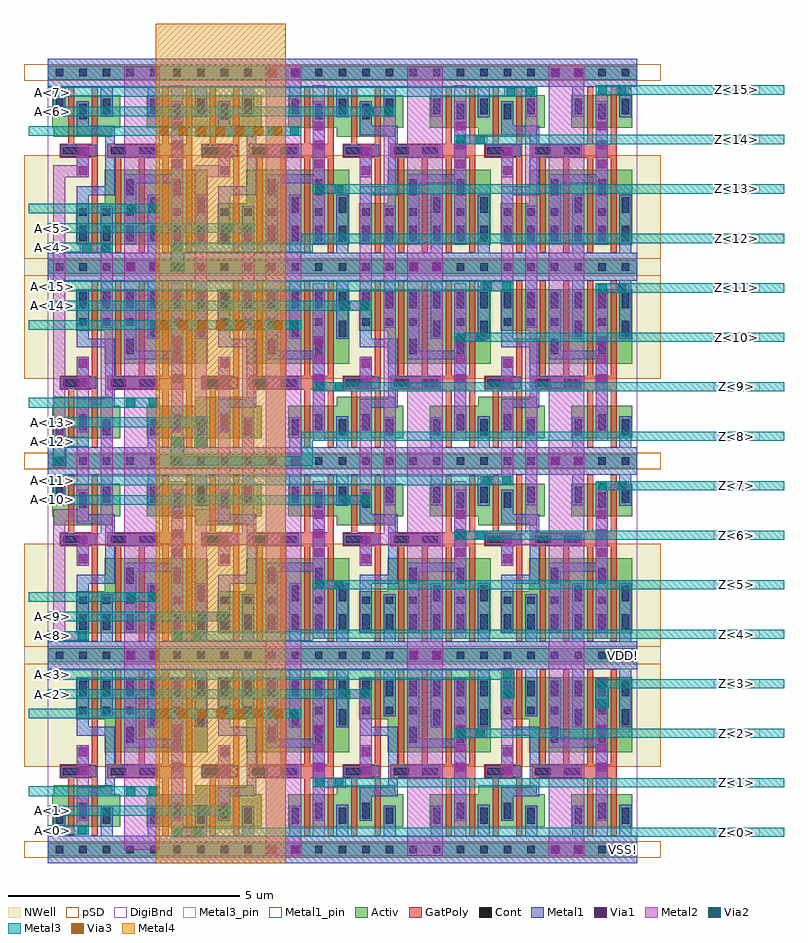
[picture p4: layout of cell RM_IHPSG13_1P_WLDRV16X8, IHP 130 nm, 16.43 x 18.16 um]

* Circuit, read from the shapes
.subckt RM_IHPSG13_1P_WLDRV16X8 A<0> A<10> A<11> A<12> A<13> A<14> A<15> A<1> A<2> A<3> A<4> A<5> A<6> A<7> A<8> A<9> VDD! VSS! Z<0> Z<10> Z<11> Z<12> Z<13> Z<14> Z<15> Z<1> Z<2> Z<3> Z<4> Z<5> Z<6> Z<7> Z<8> Z<9>
XM1 n1 A<0> VSS! VSS! sg13_lv_nmos w=0.9u l=0.13u m=2
XM2 n2 A<4> VSS! VSS! sg13_lv_nmos w=0.9u l=0.13u m=2
XM3 n3 A<8> VSS! VSS! sg13_lv_nmos w=0.9u l=0.13u m=2
XM4 n4 A<12> VSS! VSS! sg13_lv_nmos w=0.9u l=0.13u m=2
XM5 Z<0> n1 VSS! VSS! sg13_lv_nmos w=0.705u l=0.13u m=2
XM6 Z<4> n2 VSS! VSS! sg13_lv_nmos w=0.705u l=0.13u m=2
XM7 Z<8> n3 VSS! VSS! sg13_lv_nmos w=0.705u l=0.13u m=2
XM8 Z<12> n4 VSS! VSS! sg13_lv_nmos w=0.705u l=0.13u m=2
XM9 n5 A<1> VSS! VSS! sg13_lv_nmos w=0.9u l=0.13u m=2
XM10 n6 A<5> VSS! VSS! sg13_lv_nmos w=0.9u l=0.13u m=2
XM11 n7 A<9> VSS! VSS! sg13_lv_nmos w=0.9u l=0.13u m=2
XM12 n8 A<13> VSS! VSS! sg13_lv_nmos w=0.9u l=0.13u m=2
XM13 Z<1> n5 VSS! VSS! sg13_lv_nmos w=0.705u l=0.13u m=2
XM14 Z<5> n6 VSS! VSS! sg13_lv_nmos w=0.705u l=0.13u m=2
XM15 Z<9> n7 VSS! VSS! sg13_lv_nmos w=0.705u l=0.13u m=2
XM16 Z<13> n8 VSS! VSS! sg13_lv_nmos w=0.705u l=0.13u m=2
XM17 n9 A<2> VSS! VSS! sg13_lv_nmos w=0.9u l=0.13u m=2
XM18 n10 A<6> VSS! VSS! sg13_lv_nmos w=0.9u l=0.13u m=2
XM19 n11 A<10> VSS! VSS! sg13_lv_nmos w=0.9u l=0.13u m=2
XM20 n12 A<14> VSS! VSS! sg13_lv_nmos w=0.9u l=0.13u m=2
XM21 Z<2> n9 VSS! VSS! sg13_lv_nmos w=0.705u l=0.13u m=2
XM22 Z<6> n10 VSS! VSS! sg13_lv_nmos w=0.705u l=0.13u m=2
XM23 Z<10> n11 VSS! VSS! sg13_lv_nmos w=0.705u l=0.13u m=2
XM24 Z<14> n12 VSS! VSS! sg13_lv_nmos w=0.705u l=0.13u m=2
XM25 n13 A<3> VSS! VSS! sg13_lv_nmos w=0.9u l=0.13u m=2
XM26 n14 A<7> VSS! VSS! sg13_lv_nmos w=0.9u l=0.13u m=2
XM27 n15 A<11> VSS! VSS! sg13_lv_nmos w=0.9u l=0.13u m=2
XM28 n16 A<15> VSS! VSS! sg13_lv_nmos w=0.9u l=0.13u m=2
XM29 Z<3> n13 VSS! VSS! sg13_lv_nmos w=0.705u l=0.13u m=2
XM30 Z<7> n14 VSS! VSS! sg13_lv_nmos w=0.705u l=0.13u m=2
XM31 Z<11> n15 VSS! VSS! sg13_lv_nmos w=0.705u l=0.13u m=2
XM32 Z<15> n16 VSS! VSS! sg13_lv_nmos w=0.705u l=0.13u m=2
XM33 VDD! A<0> n1 VDD! sg13_lv_pmos w=0.9u l=0.13u
XM34 VDD! A<4> n2 VDD! sg13_lv_pmos w=0.9u l=0.13u
XM35 VDD! A<8> n3 VDD! sg13_lv_pmos w=0.9u l=0.13u
XM36 VDD! A<12> n4 VDD! sg13_lv_pmos w=0.9u l=0.13u
XM37 Z<0> n1 VDD! VDD! sg13_lv_pmos w=1.62u l=0.13u m=4
XM38 Z<4> n2 VDD! VDD! sg13_lv_pmos w=1.62u l=0.13u m=4
XM39 Z<8> n3 VDD! VDD! sg13_lv_pmos w=1.62u l=0.13u m=4
XM40 Z<12> n4 VDD! VDD! sg13_lv_pmos w=1.62u l=0.13u m=4
XM41 VDD! A<1> n5 VDD! sg13_lv_pmos w=0.9u l=0.13u
XM42 VDD! A<5> n6 VDD! sg13_lv_pmos w=0.9u l=0.13u
XM43 VDD! A<9> n7 VDD! sg13_lv_pmos w=0.9u l=0.13u
XM44 VDD! A<13> n8 VDD! sg13_lv_pmos w=0.9u l=0.13u
XM45 Z<1> n5 VDD! VDD! sg13_lv_pmos w=1.62u l=0.13u m=4
XM46 Z<5> n6 VDD! VDD! sg13_lv_pmos w=1.62u l=0.13u m=4
XM47 Z<9> n7 VDD! VDD! sg13_lv_pmos w=1.62u l=0.13u m=4
XM48 Z<13> n8 VDD! VDD! sg13_lv_pmos w=1.62u l=0.13u m=4
XM49 VDD! A<2> n9 VDD! sg13_lv_pmos w=0.9u l=0.13u
XM50 VDD! A<6> n10 VDD! sg13_lv_pmos w=0.9u l=0.13u
XM51 VDD! A<10> n11 VDD! sg13_lv_pmos w=0.9u l=0.13u
XM52 VDD! A<14> n12 VDD! sg13_lv_pmos w=0.9u l=0.13u
XM53 Z<2> n9 VDD! VDD! sg13_lv_pmos w=1.62u l=0.13u m=4
XM54 Z<6> n10 VDD! VDD! sg13_lv_pmos w=1.62u l=0.13u m=4
XM55 Z<10> n11 VDD! VDD! sg13_lv_pmos w=1.62u l=0.13u m=4
XM56 Z<14> n12 VDD! VDD! sg13_lv_pmos w=1.62u l=0.13u m=4
XM57 VDD! A<3> n13 VDD! sg13_lv_pmos w=0.9u l=0.13u
XM58 VDD! A<7> n14 VDD! sg13_lv_pmos w=0.9u l=0.13u
XM59 VDD! A<11> n15 VDD! sg13_lv_pmos w=0.9u l=0.13u
XM60 VDD! A<15> n16 VDD! sg13_lv_pmos w=0.9u l=0.13u
XM61 Z<3> n13 VDD! VDD! sg13_lv_pmos w=1.62u l=0.13u m=4
XM62 Z<7> n14 VDD! VDD! sg13_lv_pmos w=1.62u l=0.13u m=4
XM63 Z<11> n15 VDD! VDD! sg13_lv_pmos w=1.62u l=0.13u m=4
XM64 Z<15> n16 VDD! VDD! sg13_lv_pmos w=1.62u l=0.13u m=4
.ends

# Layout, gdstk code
from math import pi, radians
import gdstk
lib = gdstk.Library(unit=1e-6, precision=1e-09)
def R(c, l, rs):  # rectangles x0, y0, x1, y1
    for r in rs: c.add(gdstk.rectangle(r[:2], r[2:], *l))
def A(c, l, x, y, w, h, nx, ny, dx, dy):  # array of equal rectangles
    R(c, l, [(x+i*dx, y+j*dy, x+i*dx+w, y+j*dy+h) for i in range(nx) for j in range(ny)])
def P(c, l, *ps):  # polygons
    for p in ps: c.add(gdstk.Polygon(p, *l))
Activ = (1, 0)
GatPoly = (5, 0)
Cont = (6, 0)
Metal1 = (8, 0)
Metal1_pin = (8, 2)
Metal2 = (10, 0)
pSD = (14, 0)
DigiBnd = (16, 0)
Via1 = (19, 0)
Via2 = (29, 0)
Metal3 = (30, 0)
Metal3_pin = (30, 2)
NWell = (31, 0)
Via3 = (49, 0)
Metal4 = (50, 0)

rsc_ihpsg13_wldrvx8 = lib.new_cell('RSC_IHPSG13_WLDRVX8')
R(rsc_ihpsg13_wldrvx8, Activ, [(0,-0.15,3.57,0.15), (2.145,0.49,3.465,1.195), (0,4.05,3.57,4.35)])
P(rsc_ihpsg13_wldrvx8, Activ, [(1.235,2.1),(1.235,2.82),(0.615,2.82),(0.615,3.72),(3.465,3.72),(3.465,2.1)],
  [(0.105,0.49),(0.105,1.195),(0.135,1.195),(0.135,1.39),(1.395,1.39),(1.395,1.195),(1.57,1.195),(1.57,0.49)])
P(rsc_ihpsg13_wldrvx8, GatPoly, [(0.445,0.3),(0.445,1.54),(0.26,1.54),(0.26,1.84),(0.955,1.84),(0.955,3.9),(1.085,3.9),(1.085,0.3),(0.955,0.3),(0.955,1.54),(0.575,1.54),(0.575,0.3)],
  [(2.485,0.3),(2.485,1.54),(1.295,1.54),(1.295,1.84),(1.465,1.84),(1.465,3.9),(1.595,3.9),(1.595,1.84),(1.975,1.84),(1.975,3.9),(2.105,3.9),(2.105,1.84),(2.485,1.84),(2.485,3.9),(2.615,3.9),(2.615,1.84),(2.995,1.84),(2.995,3.9),(3.125,3.9),(3.125,1.84),(3.13,1.84),(3.13,1.54),(3.125,1.54),(3.125,0.3),(2.995,0.3),(2.995,1.54),(2.615,1.54),(2.615,0.3)])
A(rsc_ihpsg13_wldrvx8, Cont, 0.175, -0.08, 0.16, 0.16, 7, 2, 0.51, 4.2)
A(rsc_ihpsg13_wldrvx8, Cont, 0.175, 0.56, 0.16, 0.34, 4, 1, 1.02, 0)
A(rsc_ihpsg13_wldrvx8, Cont, 0.685, 2.93, 0.16, 0.16, 3, 1, 0.51, 0)
A(rsc_ihpsg13_wldrvx8, Cont, 0.685, 3.31, 0.16, 0.34, 6, 1, 0.51, 0)
R(rsc_ihpsg13_wldrvx8, Cont, [(0.685,0.67,0.845,1.01), (2.725,0.67,2.885,1.01), (0.33,1.61,0.67,1.77), (1.365,1.61,1.705,1.77), (1.985,1.61,2.325,1.77), (1.705,2.31,1.865,2.65), (2.725,2.31,2.885,2.65), (2.215,2.69,2.375,3.03), (3.235,2.69,3.395,3.03), (2.725,2.93,2.885,3.09)])
R(rsc_ihpsg13_wldrvx8, Metal1, [(2.675,0.62,2.935,1.35), (2.675,1.305,2.935,2.33), (0.28,1.56,1.05,1.82)])
P(rsc_ihpsg13_wldrvx8, Metal1, [(0.635,0.62),(0.635,1.35),(1.25,1.35),(1.25,2.46),(0.635,2.46),(0.635,3.7),(0.895,3.7),(0.895,2.65),(1.455,2.65),(1.455,1.83),(2.375,1.83),(2.375,1.56),(1.455,1.56),(1.455,1.15),(0.895,1.15),(0.895,0.62)],
  [(2.165,2.64),(2.165,3.9),(1.405,3.9),(1.405,2.88),(1.145,2.88),(1.145,3.9),(0,3.9),(0,4.5),(3.57,4.5),(3.57,3.9),(3.445,3.9),(3.445,2.64),(3.185,2.64),(3.185,3.9),(2.425,3.9),(2.425,2.64)],
  [(0,-0.3),(0,0.3),(0.125,0.3),(0.125,0.95),(0.385,0.95),(0.385,0.3),(1.145,0.3),(1.145,0.95),(1.405,0.95),(1.405,0.3),(2.165,0.3),(2.165,0.95),(2.425,0.95),(2.425,0.3),(3.185,0.3),(3.185,0.97),(3.445,0.97),(3.445,0.3),(3.57,0.3),(3.57,-0.3)],
  [(1.655,2.2),(1.655,3.7),(1.915,3.7),(1.915,2.39),(2.675,2.39),(2.675,3.7),(2.935,3.7),(2.935,2.2)])
R(rsc_ihpsg13_wldrvx8, Metal1_pin, [(0,-0.3,3.57,0.3), (2.675,0.62,2.935,3.7), (0.28,1.56,1.05,1.82), (0,3.9,3.57,4.5)])
R(rsc_ihpsg13_wldrvx8, pSD, [(-0.51,-0.18,4.08,0.18), (-0.51,1.785,4.08,4.02)])
R(rsc_ihpsg13_wldrvx8, DigiBnd, [(0,-0.3,3.57,4.5)])
R(rsc_ihpsg13_wldrvx8, NWell, [(-0.51,1.785,4.08,4.725)])
rsc_ihpsg13_wldrvx8.add(gdstk.Label('A', (0.51,1.695), layer=8, texttype=2))
rsc_ihpsg13_wldrvx8.add(gdstk.Label('Z', (2.806,1.995), layer=8, texttype=2))
rsc_ihpsg13_wldrvx8.add(gdstk.Label('VDD!', (0.84,4.2), layer=8, texttype=2))
rsc_ihpsg13_wldrvx8.add(gdstk.Label('VSS!', (1.155,0.005), layer=8, texttype=2))

m2_m1_cdns_686138838816 = lib.new_cell('M2_M1_CDNS_686138838816')
R(m2_m1_cdns_686138838816, Metal1, [(-0.35,-0.13,0.35,0.13)])
R(m2_m1_cdns_686138838816, Metal2, [(-0.35,-0.13,0.35,0.13)])
R(m2_m1_cdns_686138838816, Via1, [(-0.3,-0.095,-0.11,0.095), (0.11,-0.095,0.3,0.095)])

viagen23_cdns_6861388388 = lib.new_cell('viagen23_CDNS_6861388388132')
R(viagen23_cdns_6861388388, Metal2, [(-0.13,-0.355,0.13,0.355)])
R(viagen23_cdns_6861388388, Via2, [(-0.095,-0.305,0.095,-0.115), (-0.095,0.115,0.095,0.305)])
R(viagen23_cdns_6861388388, Metal3, [(-0.145,-0.315,0.145,0.315)])

viagen34_cdns_6861388388 = lib.new_cell('viagen34_CDNS_6861388388134')
R(viagen34_cdns_6861388388, Metal3, [(-1.405,-0.105,1.405,0.105)])
A(viagen34_cdns_6861388388, Via3, -1.325, -0.095, 0.19, 0.19, 7, 1, 0.41, 0)
R(viagen34_cdns_6861388388, Metal4, [(-1.405,-0.105,1.405,0.105)])

m3_m2_cdns_6861388388140 = lib.new_cell('M3_M2_CDNS_6861388388140')
R(m3_m2_cdns_6861388388140, Metal2, [(-0.385,-0.105,0.385,0.105)])
R(m3_m2_cdns_6861388388140, Via2, [(-0.335,-0.095,-0.145,0.095), (0.145,-0.095,0.335,0.095)])
R(m3_m2_cdns_6861388388140, Metal3, [(-0.385,-0.105,0.385,0.105)])

m3_m2_cdns_6861388388139 = lib.new_cell('M3_M2_CDNS_6861388388139')
R(m3_m2_cdns_6861388388139, Metal2, [(-0.355,-0.105,0.355,0.105)])
R(m3_m2_cdns_6861388388139, Via2, [(-0.305,-0.095,-0.115,0.095), (0.115,-0.095,0.305,0.095)])
R(m3_m2_cdns_6861388388139, Metal3, [(-0.355,-0.105,0.355,0.105)])

m3_m2_cdns_6861388388144 = lib.new_cell('M3_M2_CDNS_6861388388144')
R(m3_m2_cdns_6861388388144, Metal2, [(-0.355,-0.105,0.355,0.105)])
R(m3_m2_cdns_6861388388144, Via2, [(-0.305,-0.095,-0.115,0.095), (0.115,-0.095,0.305,0.095)])
R(m3_m2_cdns_6861388388144, Metal3, [(-0.355,-0.1,0.355,0.1)])

m2_m1_cdns_6861388388145 = lib.new_cell('M2_M1_CDNS_6861388388145')
R(m2_m1_cdns_6861388388145, Metal1, [(-0.37,-0.145,0.385,0.145)])
R(m2_m1_cdns_6861388388145, Metal2, [(-0.37,-0.145,0.385,0.145)])
R(m2_m1_cdns_6861388388145, Via1, [(-0.335,-0.095,-0.145,0.095), (0.16,-0.095,0.35,0.095)])

m3_m2_cdns_6861388388146 = lib.new_cell('M3_M2_CDNS_6861388388146')
R(m3_m2_cdns_6861388388146, Metal2, [(-0.355,-0.1,0.355,0.1)])
R(m3_m2_cdns_6861388388146, Via2, [(-0.305,-0.095,-0.115,0.095), (0.115,-0.095,0.305,0.095)])
R(m3_m2_cdns_6861388388146, Metal3, [(-0.355,-0.1,0.355,0.1)])

viagen12_cdns_6861388388 = lib.new_cell('viagen12_CDNS_6861388388147')
R(viagen12_cdns_6861388388, Metal1, [(-0.13,-0.555,0.13,0.555)])
R(viagen12_cdns_6861388388, Metal2, [(-0.13,-0.555,0.13,0.555)])
A(viagen12_cdns_6861388388, Via1, -0.095, -0.505, 0.19, 0.19, 1, 3, 0, 0.41)

rm_ihpsg13_1p_wldrv16x8 = lib.new_cell('RM_IHPSG13_1P_WLDRV16X8')
R(rm_ihpsg13_1p_wldrv16x8, Metal1_pin, [(12.15,-0.3,12.75,0.3), (12.15,3.9,12.75,4.5)])
A(rm_ihpsg13_1p_wldrv16x8, Metal2, 4.715, -0.13, 0.77, 17.06, 3, 1, 3.06, 0)
A(rm_ihpsg13_1p_wldrv16x8, Metal2, 2.675, 0.275, 0.26, 3.41, 4, 4, 3.06, 4.28)
R(rm_ihpsg13_1p_wldrv16x8, Metal2, [(1.655,0,1.915,16.8), (1.655,0,2.425,16.93), (2.165,0,2.425,16.8), (4.715,0,4.975,16.8), (5.225,0,5.485,16.8), (7.775,0,8.035,16.8), (8.285,0,8.545,16.8), (10.835,0,11.095,16.8), (11.345,0,11.605,16.8), (0.635,0.315,0.895,2), (2.675,0.315,2.935,2.625), (3.695,0.735,3.955,2), (6.755,1.74,7.015,3.465), (9.815,1.74,10.075,3.885), (6.755,7.455,7.015,9.96), (9.815,7.875,10.075,9.96), (6.755,11.655,7.015,14.54), (9.815,12.075,10.075,14.54)])
P(rm_ihpsg13_1p_wldrv16x8, Metal2, [(3.185,8.715),(3.185,14.8),(3.695,14.8),(3.695,14.54),(3.445,14.54),(3.445,8.715)],
  [(0.635,6.58),(0.635,6.84),(1.145,6.84),(1.145,13.125),(1.405,13.125),(1.405,6.58)],
  [(3.695,6.58),(3.695,6.84),(4.205,6.84),(4.205,13.545),(4.465,13.545),(4.465,6.58)],
  [(0.125,8.715),(0.125,14.8),(0.635,14.8),(0.635,14.54),(0.385,14.54),(0.385,8.715)],
  [(3.185,4.935),(3.185,7.36),(3.695,7.36),(3.695,9.96),(3.955,9.96),(3.955,7.1),(3.445,7.1),(3.445,4.935)],
  [(0.125,4.515),(0.125,7.36),(0.635,7.36),(0.635,9.96),(0.895,9.96),(0.895,7.1),(0.385,7.1),(0.385,4.515)],
  [(6.755,6.58),(6.755,6.84),(7.265,6.84),(7.265,16.065),(7.525,16.065),(7.525,6.58)],
  [(9.815,6.58),(9.815,6.84),(10.325,6.84),(10.325,16.485),(10.585,16.485),(10.585,6.58)])
A(rm_ihpsg13_1p_wldrv16x8, Metal3, 0, 0.315, 0.895, 0.21, 1, 3, 0, 4.2)
A(rm_ihpsg13_1p_wldrv16x8, Metal3, -0.41, 1.155, 2.835, 0.21, 1, 4, 0, 4.2)
A(rm_ihpsg13_1p_wldrv16x8, Metal3, 5.735, 1.345, 10.19, 0.2, 1, 4, 0, 4.28)
A(rm_ihpsg13_1p_wldrv16x8, Metal3, 8.795, 2.415, 7.13, 0.2, 1, 4, 0, 4.28)
A(rm_ihpsg13_1p_wldrv16x8, Metal3, 0, 3.255, 7.015, 0.21, 1, 3, 0, 4.2)
A(rm_ihpsg13_1p_wldrv16x8, Metal3, 11.855, 3.485, 4.07, 0.2, 1, 4, 0, 4.28)
A(rm_ihpsg13_1p_wldrv16x8, Metal3, 0, 3.675, 10.075, 0.21, 1, 3, 0, 4.2)
A(rm_ihpsg13_1p_wldrv16x8, Metal3, 5.485, 4.555, 10.44, 0.2, 1, 3, 0, 4.28)
R(rm_ihpsg13_1p_wldrv16x8, Metal3, [(2.675,0.275,15.925,0.475), (0,0.735,3.955,0.945), (-0.41,2.835,5.15,3.045), (2.675,4.515,5.735,4.725), (0,4.935,3.445,5.145), (2.675,8.295,5.735,8.505), (5.485,8.295,5.735,9.035), (0,9.135,3.445,9.345), (-0.41,11.235,5.15,11.445), (0,12.915,1.405,13.125), (2.675,12.915,5.735,13.125), (0,13.335,4.465,13.545), (-0.41,15.435,5.15,15.645), (0,15.855,7.525,16.065), (0,16.275,10.585,16.485)])
A(rm_ihpsg13_1p_wldrv16x8, Metal3_pin, 14.405, 0.275, 1, 0.2, 1, 16, 0, 1.07)
R(rm_ihpsg13_1p_wldrv16x8, Metal3_pin, [(0,0.315,0.21,0.525), (0,0.735,0.21,0.945), (0,3.255,0.21,3.465), (0,3.675,0.21,3.885), (0,4.515,0.21,4.725), (0,4.935,0.21,5.145), (0,7.455,0.21,7.665), (0,7.875,0.21,8.085), (0,8.715,0.21,8.925), (0,9.135,0.21,9.345), (0.005,11.655,0.215,11.865), (0.005,12.075,0.215,12.285), (0,12.915,0.21,13.125), (0,13.335,0.21,13.545), (0,15.855,0.21,16.065), (0,16.275,0.21,16.485)])
R(rm_ihpsg13_1p_wldrv16x8, Metal4, [(2.34,-0.3,5.15,17.86)])
r = gdstk.Reference(rsc_ihpsg13_wldrvx8, (0,16.8), x_reflection=True); r.repetition = gdstk.Repetition(4, 2, v1=(3.06,0), v2=(0,-8.4)); rm_ihpsg13_1p_wldrv16x8.add(r)
r = gdstk.Reference(rsc_ihpsg13_wldrvx8, (0,0)); r.repetition = gdstk.Repetition(4, 2, v1=(3.06,0), v2=(0,8.4)); rm_ihpsg13_1p_wldrv16x8.add(r)
rm_ihpsg13_1p_wldrv16x8.add(gdstk.Reference(m2_m1_cdns_686138838816, (0.765,6.49), rotation=pi/2))
rm_ihpsg13_1p_wldrv16x8.add(gdstk.Reference(m2_m1_cdns_686138838816, (6.885,6.49), rotation=pi/2))
rm_ihpsg13_1p_wldrv16x8.add(gdstk.Reference(m2_m1_cdns_686138838816, (9.945,10.31), rotation=pi/2))
rm_ihpsg13_1p_wldrv16x8.add(gdstk.Reference(m2_m1_cdns_686138838816, (0.765,10.31), rotation=pi/2))
rm_ihpsg13_1p_wldrv16x8.add(gdstk.Reference(m2_m1_cdns_686138838816, (0.765,14.89), rotation=pi/2))
rm_ihpsg13_1p_wldrv16x8.add(gdstk.Reference(m2_m1_cdns_686138838816, (3.825,14.89), rotation=pi/2))
rm_ihpsg13_1p_wldrv16x8.add(gdstk.Reference(m2_m1_cdns_686138838816, (6.885,14.89), rotation=pi/2))
rm_ihpsg13_1p_wldrv16x8.add(gdstk.Reference(m2_m1_cdns_686138838816, (3.825,1.91), rotation=pi/2))
rm_ihpsg13_1p_wldrv16x8.add(gdstk.Reference(m2_m1_cdns_686138838816, (6.885,1.91), rotation=pi/2))
rm_ihpsg13_1p_wldrv16x8.add(gdstk.Reference(m2_m1_cdns_686138838816, (9.945,1.91), rotation=pi/2))
rm_ihpsg13_1p_wldrv16x8.add(gdstk.Reference(m2_m1_cdns_686138838816, (3.825,10.31), rotation=pi/2))
rm_ihpsg13_1p_wldrv16x8.add(gdstk.Reference(m2_m1_cdns_686138838816, (9.945,6.49), rotation=pi/2))
rm_ihpsg13_1p_wldrv16x8.add(gdstk.Reference(m2_m1_cdns_686138838816, (3.825,6.49), rotation=pi/2))
rm_ihpsg13_1p_wldrv16x8.add(gdstk.Reference(m2_m1_cdns_686138838816, (9.945,14.89), rotation=pi/2))
rm_ihpsg13_1p_wldrv16x8.add(gdstk.Reference(m2_m1_cdns_686138838816, (6.885,10.31), rotation=pi/2))
rm_ihpsg13_1p_wldrv16x8.add(gdstk.Reference(m2_m1_cdns_686138838816, (0.765,1.91), rotation=pi/2))
rm_ihpsg13_1p_wldrv16x8.add(gdstk.Reference(viagen23_cdns_6861388388, (11.985,3.37), rotation=pi, x_reflection=True))
rm_ihpsg13_1p_wldrv16x8.add(gdstk.Reference(viagen23_cdns_6861388388, (9.945,3.57), rotation=pi, x_reflection=True))
rm_ihpsg13_1p_wldrv16x8.add(gdstk.Reference(viagen23_cdns_6861388388, (0.255,8.61)))
rm_ihpsg13_1p_wldrv16x8.add(gdstk.Reference(viagen23_cdns_6861388388, (2.805,12.81)))
rm_ihpsg13_1p_wldrv16x8.add(gdstk.Reference(viagen23_cdns_6861388388, (2.805,8.61)))
rm_ihpsg13_1p_wldrv16x8.add(gdstk.Reference(viagen23_cdns_6861388388, (3.315,9.03)))
rm_ihpsg13_1p_wldrv16x8.add(gdstk.Reference(viagen34_cdns_6861388388, (3.745,2.94), rotation=pi))
rm_ihpsg13_1p_wldrv16x8.add(gdstk.Reference(viagen34_cdns_6861388388, (3.745,11.34), rotation=pi))
rm_ihpsg13_1p_wldrv16x8.add(gdstk.Reference(viagen34_cdns_6861388388, (3.745,15.54), rotation=pi))
rm_ihpsg13_1p_wldrv16x8.add(gdstk.Reference(m3_m2_cdns_6861388388140, (2.04,13.86)))
rm_ihpsg13_1p_wldrv16x8.add(gdstk.Reference(m3_m2_cdns_6861388388140, (2.04,9.66)))
rm_ihpsg13_1p_wldrv16x8.add(gdstk.Reference(m3_m2_cdns_6861388388140, (2.04,5.46)))
rm_ihpsg13_1p_wldrv16x8.add(gdstk.Reference(m3_m2_cdns_6861388388140, (2.04,1.26)))
rm_ihpsg13_1p_wldrv16x8.add(gdstk.Reference(m3_m2_cdns_6861388388140, (5.1,2.94)))
rm_ihpsg13_1p_wldrv16x8.add(gdstk.Reference(m3_m2_cdns_6861388388140, (5.1,11.34)))
rm_ihpsg13_1p_wldrv16x8.add(gdstk.Reference(m3_m2_cdns_6861388388140, (5.1,15.54)))
rm_ihpsg13_1p_wldrv16x8.add(gdstk.Reference(m3_m2_cdns_6861388388139, (6.66,7.56), rotation=pi, x_reflection=True))
rm_ihpsg13_1p_wldrv16x8.add(gdstk.Reference(m3_m2_cdns_6861388388139, (3.54,5.04), rotation=pi, x_reflection=True))
rm_ihpsg13_1p_wldrv16x8.add(gdstk.Reference(m3_m2_cdns_6861388388139, (10.23,16.38), rotation=pi, x_reflection=True))
rm_ihpsg13_1p_wldrv16x8.add(gdstk.Reference(m3_m2_cdns_6861388388139, (1.05,13.02), rotation=pi, x_reflection=True))
rm_ihpsg13_1p_wldrv16x8.add(gdstk.Reference(m3_m2_cdns_6861388388139, (9.72,7.98), rotation=pi, x_reflection=True))
rm_ihpsg13_1p_wldrv16x8.add(gdstk.Reference(m3_m2_cdns_6861388388139, (0.54,0.42), rotation=pi, x_reflection=True))
rm_ihpsg13_1p_wldrv16x8.add(gdstk.Reference(m3_m2_cdns_6861388388139, (3.6,0.84), rotation=pi, x_reflection=True))
rm_ihpsg13_1p_wldrv16x8.add(gdstk.Reference(m3_m2_cdns_6861388388139, (6.66,3.36), rotation=pi, x_reflection=True))
rm_ihpsg13_1p_wldrv16x8.add(gdstk.Reference(m3_m2_cdns_6861388388139, (0.54,4.62), rotation=pi, x_reflection=True))
rm_ihpsg13_1p_wldrv16x8.add(gdstk.Reference(m3_m2_cdns_6861388388139, (7.17,15.96), rotation=pi, x_reflection=True))
rm_ihpsg13_1p_wldrv16x8.add(gdstk.Reference(m3_m2_cdns_6861388388139, (3.03,4.62), rotation=pi, x_reflection=True))
rm_ihpsg13_1p_wldrv16x8.add(gdstk.Reference(m3_m2_cdns_6861388388139, (9.72,12.18), rotation=pi, x_reflection=True))
rm_ihpsg13_1p_wldrv16x8.add(gdstk.Reference(m3_m2_cdns_6861388388139, (4.11,13.44), rotation=pi, x_reflection=True))
rm_ihpsg13_1p_wldrv16x8.add(gdstk.Reference(m3_m2_cdns_6861388388139, (6.66,11.76), rotation=pi, x_reflection=True))
rm_ihpsg13_1p_wldrv16x8.add(gdstk.Reference(m3_m2_cdns_6861388388144, (3.03,0.375), rotation=pi, x_reflection=True))
rm_ihpsg13_1p_wldrv16x8.add(gdstk.Reference(m3_m2_cdns_6861388388144, (9.15,2.515), rotation=pi, x_reflection=True))
rm_ihpsg13_1p_wldrv16x8.add(gdstk.Reference(m3_m2_cdns_6861388388144, (6.09,1.445), rotation=pi, x_reflection=True))
rm_ihpsg13_1p_wldrv16x8.add(gdstk.Reference(m2_m1_cdns_6861388388145, (8.175,12.6), rotation=pi))
rm_ihpsg13_1p_wldrv16x8.add(gdstk.Reference(m2_m1_cdns_6861388388145, (5.115,16.8), rotation=pi))
rm_ihpsg13_1p_wldrv16x8.add(gdstk.Reference(m2_m1_cdns_6861388388145, (8.175,4.2), rotation=pi))
rm_ihpsg13_1p_wldrv16x8.add(gdstk.Reference(m2_m1_cdns_6861388388145, (2.055,4.2), rotation=pi))
rm_ihpsg13_1p_wldrv16x8.add(gdstk.Reference(m2_m1_cdns_6861388388145, (2.055,12.6), rotation=pi))
rm_ihpsg13_1p_wldrv16x8.add(gdstk.Reference(m2_m1_cdns_6861388388145, (5.115,0), rotation=pi))
rm_ihpsg13_1p_wldrv16x8.add(gdstk.Reference(m2_m1_cdns_6861388388145, (11.235,16.8), rotation=pi))
rm_ihpsg13_1p_wldrv16x8.add(gdstk.Reference(m2_m1_cdns_6861388388145, (11.235,0), rotation=pi))
rm_ihpsg13_1p_wldrv16x8.add(gdstk.Reference(m2_m1_cdns_6861388388145, (11.235,8.4), rotation=pi))
rm_ihpsg13_1p_wldrv16x8.add(gdstk.Reference(m2_m1_cdns_6861388388145, (5.115,8.4), rotation=pi))
rm_ihpsg13_1p_wldrv16x8.add(gdstk.Reference(m3_m2_cdns_6861388388146, (9.15,11.075), rotation=pi, x_reflection=True))
rm_ihpsg13_1p_wldrv16x8.add(gdstk.Reference(m3_m2_cdns_6861388388146, (6.09,10.005), rotation=pi, x_reflection=True))
rm_ihpsg13_1p_wldrv16x8.add(gdstk.Reference(m3_m2_cdns_6861388388146, (12.21,16.425), rotation=pi, x_reflection=True))
rm_ihpsg13_1p_wldrv16x8.add(gdstk.Reference(m3_m2_cdns_6861388388146, (12.21,12.145), rotation=pi, x_reflection=True))
rm_ihpsg13_1p_wldrv16x8.add(gdstk.Reference(m3_m2_cdns_6861388388146, (9.15,15.355), rotation=pi, x_reflection=True))
rm_ihpsg13_1p_wldrv16x8.add(gdstk.Reference(m3_m2_cdns_6861388388146, (9.15,6.795), rotation=pi, x_reflection=True))
rm_ihpsg13_1p_wldrv16x8.add(gdstk.Reference(m3_m2_cdns_6861388388146, (12.21,7.865), rotation=pi, x_reflection=True))
rm_ihpsg13_1p_wldrv16x8.add(gdstk.Reference(m3_m2_cdns_6861388388146, (6.09,5.725), rotation=pi, x_reflection=True))
rm_ihpsg13_1p_wldrv16x8.add(gdstk.Reference(m3_m2_cdns_6861388388146, (6.09,14.285), rotation=pi, x_reflection=True))
rm_ihpsg13_1p_wldrv16x8.add(gdstk.Reference(viagen12_cdns_6861388388, (2.805,6.835)))
rm_ihpsg13_1p_wldrv16x8.add(gdstk.Reference(viagen12_cdns_6861388388, (8.925,10.595)))
rm_ihpsg13_1p_wldrv16x8.add(gdstk.Reference(viagen12_cdns_6861388388, (8.925,15.235)))
rm_ihpsg13_1p_wldrv16x8.add(gdstk.Reference(viagen12_cdns_6861388388, (5.865,6.835)))
rm_ihpsg13_1p_wldrv16x8.add(gdstk.Reference(viagen12_cdns_6861388388, (2.805,15.235)))
rm_ihpsg13_1p_wldrv16x8.add(gdstk.Reference(viagen12_cdns_6861388388, (8.925,6.835)))
rm_ihpsg13_1p_wldrv16x8.add(gdstk.Reference(viagen12_cdns_6861388388, (2.805,10.595)))
rm_ihpsg13_1p_wldrv16x8.add(gdstk.Reference(viagen12_cdns_6861388388, (5.865,10.595)))
rm_ihpsg13_1p_wldrv16x8.add(gdstk.Reference(viagen12_cdns_6861388388, (2.805,2.195)))
rm_ihpsg13_1p_wldrv16x8.add(gdstk.Reference(viagen12_cdns_6861388388, (11.985,15.235)))
rm_ihpsg13_1p_wldrv16x8.add(gdstk.Reference(viagen12_cdns_6861388388, (11.985,10.595)))
rm_ihpsg13_1p_wldrv16x8.add(gdstk.Reference(viagen12_cdns_6861388388, (5.865,2.195)))
rm_ihpsg13_1p_wldrv16x8.add(gdstk.Reference(viagen12_cdns_6861388388, (8.925,2.195)))
rm_ihpsg13_1p_wldrv16x8.add(gdstk.Reference(viagen12_cdns_6861388388, (11.985,2.195)))
rm_ihpsg13_1p_wldrv16x8.add(gdstk.Reference(viagen12_cdns_6861388388, (11.985,6.835)))
rm_ihpsg13_1p_wldrv16x8.add(gdstk.Reference(viagen12_cdns_6861388388, (5.865,15.235)))
rm_ihpsg13_1p_wldrv16x8.add(gdstk.Label('A<7>', (0.105,16.38), layer=30, texttype=25))
rm_ihpsg13_1p_wldrv16x8.add(gdstk.Label('A<9>', (0.105,5.04), layer=30, texttype=25))
rm_ihpsg13_1p_wldrv16x8.add(gdstk.Label('A<4>', (0.105,13.02), layer=30, texttype=25))
rm_ihpsg13_1p_wldrv16x8.add(gdstk.Label('A<5>', (0.105,13.44), layer=30, texttype=25))
rm_ihpsg13_1p_wldrv16x8.add(gdstk.Label('A<8>', (0.105,4.62), layer=30, texttype=25))
rm_ihpsg13_1p_wldrv16x8.add(gdstk.Label('A<6>', (0.105,15.96), layer=30, texttype=25))
rm_ihpsg13_1p_wldrv16x8.add(gdstk.Label('A<10>', (0.105,7.56), layer=30, texttype=25))
rm_ihpsg13_1p_wldrv16x8.add(gdstk.Label('A<11>', (0.105,7.98), layer=30, texttype=25))
rm_ihpsg13_1p_wldrv16x8.add(gdstk.Label('A<3>', (0.105,3.78), layer=30, texttype=25))
rm_ihpsg13_1p_wldrv16x8.add(gdstk.Label('A<14>', (0.11,11.76), layer=30, texttype=25))
rm_ihpsg13_1p_wldrv16x8.add(gdstk.Label('A<15>', (0.11,12.18), layer=30, texttype=25))
rm_ihpsg13_1p_wldrv16x8.add(gdstk.Label('A<0>', (0.105,0.42), layer=30, texttype=25))
rm_ihpsg13_1p_wldrv16x8.add(gdstk.Label('A<12>', (0.105,8.82), layer=30, texttype=25))
rm_ihpsg13_1p_wldrv16x8.add(gdstk.Label('A<13>', (0.105,9.24), layer=30, texttype=25))
rm_ihpsg13_1p_wldrv16x8.add(gdstk.Label('A<2>', (0.105,3.36), layer=30, texttype=25))
rm_ihpsg13_1p_wldrv16x8.add(gdstk.Label('Z<15>', (14.905,16.425), layer=30, texttype=25))
rm_ihpsg13_1p_wldrv16x8.add(gdstk.Label('A<1>', (0.105,0.84), layer=30, texttype=25))
rm_ihpsg13_1p_wldrv16x8.add(gdstk.Label('Z<0>', (14.905,0.375), layer=30, texttype=25))
rm_ihpsg13_1p_wldrv16x8.add(gdstk.Label('Z<1>', (14.905,1.445), layer=30, texttype=25))
rm_ihpsg13_1p_wldrv16x8.add(gdstk.Label('Z<2>', (14.905,2.515), layer=30, texttype=25))
rm_ihpsg13_1p_wldrv16x8.add(gdstk.Label('Z<3>', (14.905,3.585), layer=30, texttype=25))
rm_ihpsg13_1p_wldrv16x8.add(gdstk.Label('Z<4>', (14.905,4.655), layer=30, texttype=25))
rm_ihpsg13_1p_wldrv16x8.add(gdstk.Label('Z<5>', (14.905,5.725), layer=30, texttype=25))
rm_ihpsg13_1p_wldrv16x8.add(gdstk.Label('Z<6>', (14.905,6.795), layer=30, texttype=25))
rm_ihpsg13_1p_wldrv16x8.add(gdstk.Label('Z<7>', (14.905,7.865), layer=30, texttype=25))
rm_ihpsg13_1p_wldrv16x8.add(gdstk.Label('Z<8>', (14.905,8.935), layer=30, texttype=25))
rm_ihpsg13_1p_wldrv16x8.add(gdstk.Label('Z<9>', (14.905,10.005), layer=30, texttype=25))
rm_ihpsg13_1p_wldrv16x8.add(gdstk.Label('Z<10>', (14.905,11.075), layer=30, texttype=25))
rm_ihpsg13_1p_wldrv16x8.add(gdstk.Label('Z<11>', (14.905,12.145), layer=30, texttype=25))
rm_ihpsg13_1p_wldrv16x8.add(gdstk.Label('Z<12>', (14.905,13.215), layer=30, texttype=25))
rm_ihpsg13_1p_wldrv16x8.add(gdstk.Label('Z<13>', (14.905,14.285), layer=30, texttype=25))
rm_ihpsg13_1p_wldrv16x8.add(gdstk.Label('Z<14>', (14.905,15.355), layer=30, texttype=25))
rm_ihpsg13_1p_wldrv16x8.add(gdstk.Label('VSS!', (12.45,0), layer=8, texttype=2))
rm_ihpsg13_1p_wldrv16x8.add(gdstk.Label('VDD!', (12.45,4.2), layer=8, texttype=2))

lib.write_gds('RM_IHPSG13_1P_WLDRV16X8.gds')
